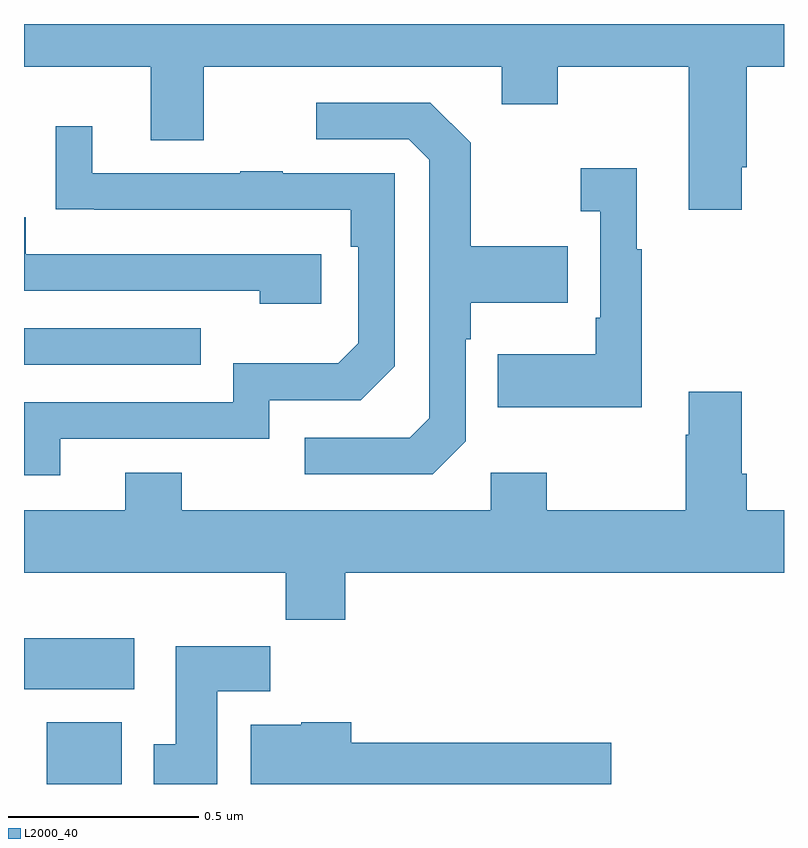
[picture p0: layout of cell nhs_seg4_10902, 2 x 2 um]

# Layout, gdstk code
import gdstk
lib = gdstk.Library(unit=1e-6, precision=1e-09)
def R(c, l, rs):  # rectangles x0, y0, x1, y1
    for r in rs: c.add(gdstk.rectangle(r[:2], r[2:], *l))
def P(c, l, *ps):  # polygons
    for p in ps: c.add(gdstk.Polygon(p, *l))
L2000_40 = (2000, 40)

nhs_seg4_10902 = lib.new_cell('nhs_seg4_10902')
R(nhs_seg4_10902, L2000_40, [(245.06,826.9,245.257,827.062), (245,827.15,245.29,827.284), (245,828.003,245.465,828.099)])
P(nhs_seg4_10902, L2000_40, [(246.889,828.523),(246.902,828.523),(246.902,828.788),(247,828.788),(247,828.9),(245,828.9),(245,828.788),(245.333,828.788),(245.333,828.594),(245.473,828.594),(245.473,828.788),(246.257,828.788),(246.257,828.689),(246.405,828.689),(246.405,828.788),(246.749,828.788),(246.749,828.411),(246.889,828.411)],
  [(246.162,827.802),(246.162,828.071),(246.175,828.071),(246.175,828.167),(246.431,828.167),(246.431,828.315),(246.175,828.315),(246.175,828.587),(246.069,828.693),(245.769,828.693),(245.769,828.597),(246.012,828.597),(246.066,828.543),(246.066,827.862),(246.015,827.811),(245.739,827.811),(245.739,827.715),(246.075,827.715)],
  [(245.095,827.808),(245.646,827.808),(245.646,827.91),(245.886,827.91),(245.976,828),(245.976,828.507),(245.681,828.507),(245.681,828.512),(245.569,828.512),(245.569,828.507),(245.179,828.507),(245.179,828.631),(245.083,828.631),(245.083,828.412),(245.185,828.412),(245.185,828.411),(245.86,828.411),(245.86,828.314),(245.88,828.314),(245.88,828.06),(245.827,828.007),(245.55,828.007),(245.55,827.904),(245,827.904),(245,827.712),(245.095,827.712)],
  [(246.625,828.307),(246.613,828.307),(246.613,828.52),(246.465,828.52),(246.465,828.407),(246.516,828.407),(246.516,828.127),(246.504,828.127),(246.504,828.031),(246.247,828.031),(246.247,827.891),(246.625,827.891)],
  [(245.782,828.294),(245.005,828.294),(245.005,828.391),(245,828.391),(245,828.198),(245.621,828.198),(245.621,828.164),(245.782,828.164)],
  [(245.846,827.456),(247,827.456),(247,827.62),(246.902,827.62),(246.902,827.716),(246.889,827.716),(246.889,827.932),(246.749,827.932),(246.749,827.819),(246.742,827.819),(246.742,827.62),(246.375,827.62),(246.375,827.719),(246.228,827.719),(246.228,827.62),(245.415,827.62),(245.415,827.719),(245.267,827.719),(245.267,827.62),(245,827.62),(245,827.456),(245.689,827.456),(245.689,827.332),(245.846,827.332)],
  [(245.509,827.144),(245.648,827.144),(245.648,827.263),(245.399,827.263),(245.399,827.004),(245.342,827.004),(245.342,826.9),(245.509,826.9)],
  [(246.545,827.008),(245.861,827.008),(245.861,827.062),(245.73,827.062),(245.73,827.056),(245.597,827.056),(245.597,826.9),(246.545,826.9)])

lib.write_gds('nhs_seg4_10902.gds')
